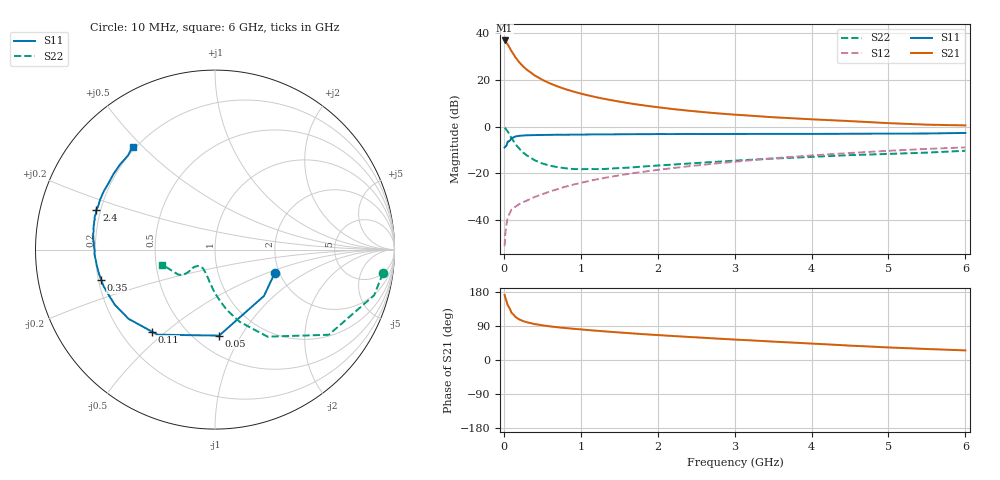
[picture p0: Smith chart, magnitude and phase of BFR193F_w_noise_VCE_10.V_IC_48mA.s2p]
! Infineon Technologies  Discrete & RF Semiconductors
! BFR193F
! VCE =  10. V,  IC =  48 mA
! Common Emitter S-Parameters:  Jan 2017
# GHz  S  MA  R  50
!  f  S11  S21  S12  S22
! GHz  MAG  ANG  MAG  ANG  MAG  ANG  MAG  ANG
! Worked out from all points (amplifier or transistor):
!   77 points, 10 MHz to 6 GHz, reference 50 ohm
!   highest |S21| = 36.8 dB at 10 MHz (marker M1)
!   |S21| within 3 dB of that: start of sweep to 72.93 MHz
!   unconditionally stable (mu >= 1): 931.7 MHz to 2.64 GHz
!   at 130 MHz: K = 0.43, MSG = 32.7 dB, |S12| = -34.7 dB
!   at 2.2 GHz: K = 1.02, MAG = 11.8 dB, |S12| = -17.7 dB
!   at 6 GHz: K = 0.84, MSG = 4.7 dB, |S12| = -8.8 dB
!   lowest NFmin = 1.45 dB at 450 MHz
!   S11 on the Smith chart (normalised r, x): 10 MHz: 1.89, -0.56; 50 MHz: 0.65, -0.81; 110 MHz: 0.33, -0.45; 350 MHz: 0.21, -0.13; 2.4 GHz: 0.18, +0.16; 6 GHz: 0.19, +0.47
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0.01  0.3576 -21.3  69.26 171.6  0.0028 83.6  0.9447 -8.0
0.02  0.3757 -43.4  67.15 163.8  0.0053 72.5  0.9227 -16.0
0.05  0.4796 -87.2  57.29 144.7  0.0112 63.0  0.792 -36.8
0.1  0.5719 -124.0  40.88 124.4  0.017 53.4  0.5667 -58.9
0.11  0.5765 -127.6  38.66 122.7  0.0175 52.7  0.5366 -60.8
0.15  0.617 -141.3  30.27 113.7  0.0195 50.3  0.4246 -71.2
0.2  0.6369 -151.0  23.7 107.0  0.0222 51.0  0.34 -79.2
0.25  0.6454 -157.6  19.33 102.7  0.0243 51.7  0.2798 -85.2
0.3  0.6537 -162.0  16.34 99.5  0.0264 55.4  0.2427 -90.1
0.35  0.656 -165.1  14.36 97.4  0.0289 57.5  0.2167 -93.5
0.4  0.6602 -168.2  12.41 94.7  0.0314 59.3  0.1917 -97.7
0.5  0.6641 -172.1  10 91.5  0.0361 62.4  0.1635 -103.7
0.6  0.6674 -175.2  8.383 88.7  0.0412 64.9  0.1463 -109.3
0.8  0.6706 -179.7  6.313 84.4  0.0521 68.3  0.1291 -118.4
1.1  0.68 175.3  4.628 78.9  0.0688 71.2  0.1244 -127.3
1.5  0.687 170.2  3.428 72.7  0.091 72.7  0.1305 -135.2
2.1  0.694 164.1  2.485 64.6  0.1247 73.0  0.1512 -140.0
2.4  0.6976 161.4  2.191 60.9  0.1422 72.8  0.1628 -140.8
3.1  0.6982 155.6  1.76 52.9  0.1838 71.8  0.1918 -140.0
4.1  0.7001 146.9  1.409 42.3  0.2485 68.2  0.2297 -142.6
5.1  0.7108 137.1  1.17 32.3  0.3104 63.0  0.265 -153.0
6  0.734 128.7  1.062 25.3  0.361 58.0  0.3055 -164.0
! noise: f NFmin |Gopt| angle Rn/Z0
0.45  1.45  0.46  -180  0.07
0.9  1.54  0.47  -179  0.07
1.9  2.11  0.6  -164  0.09
2.4  2.42  0.62  -156  0.14
